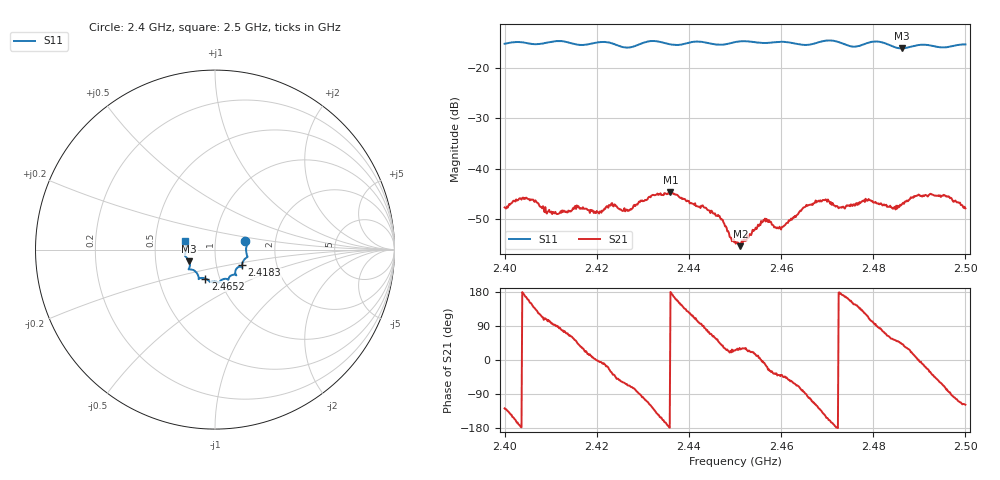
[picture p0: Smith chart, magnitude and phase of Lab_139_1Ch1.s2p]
# Hz S RI R 50
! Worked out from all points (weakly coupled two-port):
!   601 points, 2.4 GHz to 2.5 GHz, reference 50 ohm
!   highest |S21| = -44.69 dB at 2.436 GHz (marker M1); lowest = -55.4 dB at 2.4512 GHz (marker M2)
!   lowest |S11| = -16.1 dB at 2.4862 GHz (marker M3), VSWR 1.37, Z = 37.2 - j4.89 ohm
!   |S11| at or under -10 dB: start of sweep to end of sweep
!   S12 and S22 are empty: the file has one direction only
!   S11 on the Smith chart (normalised r, x): 2.4 GHz: 1.40, +0.13; 2.4183 GHz: 1.33, -0.24; 2.4652 GHz: 0.85, -0.28; 2.5 GHz: 0.71, +0.07
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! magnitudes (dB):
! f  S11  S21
! 2.4 GHz  -15.2  -47.7
! 2.4043 GHz  -14.9  -45.8
! 2.4108 GHz  -14.7  -48.8
! 2.4167 GHz  -15.4  -47.9
! 2.4183 GHz  -15.2  -48.2
! 2.4272 GHz  -15.9  -48.2
! 2.4333 GHz  -14.7  -45.2
! 2.436 GHz  -15.3  -44.7
! 2.4468 GHz  -15.4  -49.8
! 2.45 GHz  -14.8  -54.5
! 2.4512 GHz  -14.7  -55.4
! 2.4562 GHz  -15.0  -50.2
! 2.46 GHz  -14.8  -52.0
! 2.4652 GHz  -15.4  -47.6
! 2.4667 GHz  -15.2  -47.0
! 2.4697 GHz  -14.5  -46.1
! 2.4733 GHz  -15.1  -47.5
! 2.4788 GHz  -15.0  -46.3
! 2.4833 GHz  -15.3  -47.6
! 2.4862 GHz  -16.1  -47.1
! 2.4927 GHz  -15.5  -45.1
! 2.5 GHz  -15.3  -47.9
